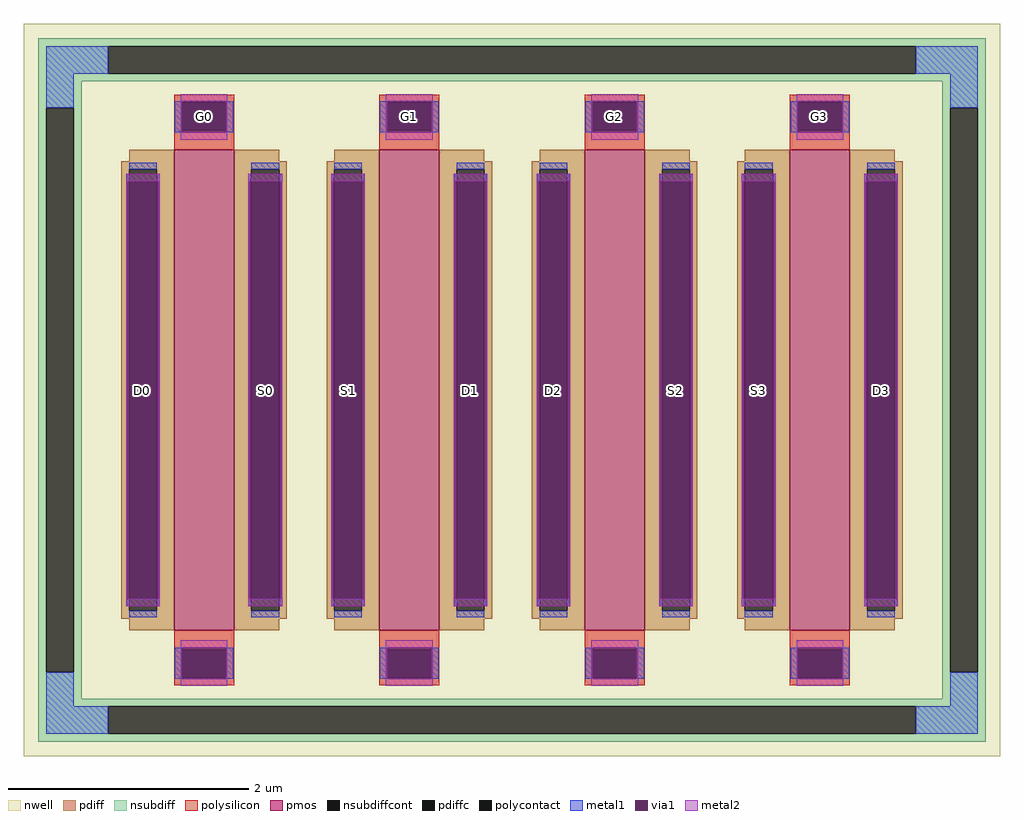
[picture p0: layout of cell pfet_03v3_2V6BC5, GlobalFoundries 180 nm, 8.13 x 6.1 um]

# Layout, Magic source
magic
tech gf180mcuD
magscale 1 10
<< nwell >>
rect -813 -610 813 610
<< pmos >>
rect -563 -400 -463 400
rect -221 -400 -121 400
rect 121 -400 221 400
rect 463 -400 563 400
<< pdiff >>
rect -638 381 -563 400
rect -651 368 -563 381
rect -651 -368 -638 368
rect -592 -368 -563 368
rect -651 -381 -563 -368
rect -638 -400 -563 -381
rect -463 381 -388 400
rect -296 381 -221 400
rect -463 368 -375 381
rect -463 -368 -434 368
rect -388 -368 -375 368
rect -463 -381 -375 -368
rect -309 368 -221 381
rect -309 -368 -296 368
rect -250 -368 -221 368
rect -309 -381 -221 -368
rect -463 -400 -388 -381
rect -296 -400 -221 -381
rect -121 381 -46 400
rect 46 381 121 400
rect -121 368 -33 381
rect -121 -368 -92 368
rect -46 -368 -33 368
rect -121 -381 -33 -368
rect 33 368 121 381
rect 33 -368 46 368
rect 92 -368 121 368
rect 33 -381 121 -368
rect -121 -400 -46 -381
rect 46 -400 121 -381
rect 221 381 296 400
rect 388 381 463 400
rect 221 368 309 381
rect 221 -368 250 368
rect 296 -368 309 368
rect 221 -381 309 -368
rect 375 368 463 381
rect 375 -368 388 368
rect 434 -368 463 368
rect 375 -381 463 -368
rect 221 -400 296 -381
rect 388 -400 463 -381
rect 563 381 638 400
rect 563 368 651 381
rect 563 -368 592 368
rect 638 -368 651 368
rect 563 -381 651 -368
rect 563 -400 638 -381
<< pdiffc >>
rect -638 -368 -592 368
rect -434 -368 -388 368
rect -296 -368 -250 368
rect -92 -368 -46 368
rect 46 -368 92 368
rect 250 -368 296 368
rect 388 -368 434 368
rect 592 -368 638 368
<< nsubdiff >>
rect -789 573 789 586
rect -789 527 -673 573
rect 673 527 789 573
rect -789 514 789 527
rect -789 470 -717 514
rect -789 -470 -776 470
rect -730 -470 -717 470
rect 717 470 789 514
rect -789 -514 -717 -470
rect 717 -470 730 470
rect 776 -470 789 470
rect 717 -514 789 -470
rect -789 -527 789 -514
rect -789 -573 -673 -527
rect 673 -573 789 -527
rect -789 -586 789 -573
<< nsubdiffcont >>
rect -673 527 673 573
rect -776 -470 -730 470
rect 730 -470 776 470
rect -673 -573 673 -527
<< polysilicon >>
rect -563 479 -463 492
rect -563 433 -550 479
rect -476 433 -463 479
rect -563 400 -463 433
rect -221 479 -121 492
rect -221 433 -208 479
rect -134 433 -121 479
rect -221 400 -121 433
rect 121 479 221 492
rect 121 433 134 479
rect 208 433 221 479
rect 121 400 221 433
rect 463 479 563 492
rect 463 433 476 479
rect 550 433 563 479
rect 463 400 563 433
rect -563 -433 -463 -400
rect -563 -479 -550 -433
rect -476 -479 -463 -433
rect -563 -492 -463 -479
rect -221 -433 -121 -400
rect -221 -479 -208 -433
rect -134 -479 -121 -433
rect -221 -492 -121 -479
rect 121 -433 221 -400
rect 121 -479 134 -433
rect 208 -479 221 -433
rect 121 -492 221 -479
rect 463 -433 563 -400
rect 463 -479 476 -433
rect 550 -479 563 -433
rect 463 -492 563 -479
<< polycontact >>
rect -550 433 -476 479
rect -208 433 -134 479
rect 134 433 208 479
rect 476 433 550 479
rect -550 -479 -476 -433
rect -208 -479 -134 -433
rect 134 -479 208 -433
rect 476 -479 550 -433
<< metal1 >>
rect -776 527 -673 573
rect 673 527 776 573
rect -776 470 -730 527
rect -562 429 -550 481
rect -476 429 -464 481
rect -220 429 -208 481
rect -134 429 -122 481
rect 122 429 134 481
rect 208 429 220 481
rect 464 429 476 481
rect 550 429 562 481
rect 730 470 776 527
rect -638 368 -592 379
rect -641 348 -638 360
rect -434 368 -388 379
rect -592 348 -589 360
rect -641 -360 -638 -348
rect -592 -360 -589 -348
rect -437 348 -434 360
rect -296 368 -250 379
rect -388 348 -385 360
rect -437 -360 -434 -348
rect -638 -379 -592 -368
rect -388 -360 -385 -348
rect -299 348 -296 360
rect -92 368 -46 379
rect -250 348 -247 360
rect -299 -360 -296 -348
rect -434 -379 -388 -368
rect -250 -360 -247 -348
rect -95 348 -92 360
rect 46 368 92 379
rect -46 348 -43 360
rect -95 -360 -92 -348
rect -296 -379 -250 -368
rect -46 -360 -43 -348
rect 43 348 46 360
rect 250 368 296 379
rect 92 348 95 360
rect 43 -360 46 -348
rect -92 -379 -46 -368
rect 92 -360 95 -348
rect 247 348 250 360
rect 388 368 434 379
rect 296 348 299 360
rect 247 -360 250 -348
rect 46 -379 92 -368
rect 296 -360 299 -348
rect 385 348 388 360
rect 592 368 638 379
rect 434 348 437 360
rect 385 -360 388 -348
rect 250 -379 296 -368
rect 434 -360 437 -348
rect 589 348 592 360
rect 638 348 641 360
rect 589 -360 592 -348
rect 388 -379 434 -368
rect 638 -360 641 -348
rect 592 -379 638 -368
rect -776 -527 -730 -470
rect -562 -481 -550 -429
rect -476 -481 -464 -429
rect -220 -481 -208 -429
rect -134 -481 -122 -429
rect 122 -481 134 -429
rect 208 -481 220 -429
rect 464 -481 476 -429
rect 550 -481 562 -429
rect 730 -527 776 -470
rect -776 -573 -673 -527
rect 673 -573 776 -527
<< via1 >>
rect -550 479 -476 481
rect -550 433 -476 479
rect -550 429 -476 433
rect -208 479 -134 481
rect -208 433 -134 479
rect -208 429 -134 433
rect 134 479 208 481
rect 134 433 208 479
rect 134 429 208 433
rect 476 479 550 481
rect 476 433 550 479
rect 476 429 550 433
rect -641 -348 -638 348
rect -638 -348 -592 348
rect -592 -348 -589 348
rect -437 -348 -434 348
rect -434 -348 -388 348
rect -388 -348 -385 348
rect -299 -348 -296 348
rect -296 -348 -250 348
rect -250 -348 -247 348
rect -95 -348 -92 348
rect -92 -348 -46 348
rect -46 -348 -43 348
rect 43 -348 46 348
rect 46 -348 92 348
rect 92 -348 95 348
rect 247 -348 250 348
rect 250 -348 296 348
rect 296 -348 299 348
rect 385 -348 388 348
rect 388 -348 434 348
rect 434 -348 437 348
rect 589 -348 592 348
rect 592 -348 638 348
rect 638 -348 641 348
rect -550 -433 -476 -429
rect -550 -479 -476 -433
rect -550 -481 -476 -479
rect -208 -433 -134 -429
rect -208 -479 -134 -433
rect -208 -481 -134 -479
rect 134 -433 208 -429
rect 134 -479 208 -433
rect 134 -481 208 -479
rect 476 -433 550 -429
rect 476 -479 550 -433
rect 476 -481 550 -479
<< metal2 >>
rect -552 481 -474 493
rect -552 429 -550 481
rect -476 429 -474 481
rect -552 417 -474 429
rect -210 481 -132 493
rect -210 429 -208 481
rect -134 429 -132 481
rect -210 417 -132 429
rect 132 481 210 493
rect 132 429 134 481
rect 208 429 210 481
rect 132 417 210 429
rect 474 481 552 493
rect 474 429 476 481
rect 550 429 552 481
rect 474 417 552 429
rect -643 348 -587 360
rect -643 -348 -641 348
rect -589 -348 -587 348
rect -643 -360 -587 -348
rect -439 348 -383 360
rect -439 -348 -437 348
rect -385 -348 -383 348
rect -439 -360 -383 -348
rect -301 348 -245 360
rect -301 -348 -299 348
rect -247 -348 -245 348
rect -301 -360 -245 -348
rect -97 348 -41 360
rect -97 -348 -95 348
rect -43 -348 -41 348
rect -97 -360 -41 -348
rect 41 348 97 360
rect 41 -348 43 348
rect 95 -348 97 348
rect 41 -360 97 -348
rect 245 348 301 360
rect 245 -348 247 348
rect 299 -348 301 348
rect 245 -360 301 -348
rect 383 348 439 360
rect 383 -348 385 348
rect 437 -348 439 348
rect 383 -360 439 -348
rect 587 348 643 360
rect 587 -348 589 348
rect 641 -348 643 348
rect 587 -360 643 -348
rect -552 -429 -474 -417
rect -552 -481 -550 -429
rect -476 -481 -474 -429
rect -552 -493 -474 -481
rect -210 -429 -132 -417
rect -210 -481 -208 -429
rect -134 -481 -132 -429
rect -210 -493 -132 -481
rect 132 -429 210 -417
rect 132 -481 134 -429
rect 208 -481 210 -429
rect 132 -493 210 -481
rect 474 -429 552 -417
rect 474 -481 476 -429
rect 550 -481 552 -429
rect 474 -493 552 -481
<< labels >>
rlabel pdiffc -615 0 -615 0 0 D0
port 1 nsew
rlabel pdiffc -411 0 -411 0 0 S0
port 2 nsew
rlabel polycontact -513 456 -513 456 0 G0
port 3 nsew
rlabel pdiffc -69 0 -69 0 0 D1
port 4 nsew
rlabel pdiffc -273 0 -273 0 0 S1
port 5 nsew
rlabel polycontact -171 456 -171 456 0 G1
port 6 nsew
rlabel pdiffc 69 0 69 0 0 D2
port 7 nsew
rlabel pdiffc 273 0 273 0 0 S2
port 8 nsew
rlabel polycontact 171 456 171 456 0 G2
port 9 nsew
rlabel pdiffc 615 0 615 0 0 D3
port 10 nsew
rlabel pdiffc 411 0 411 0 0 S3
port 11 nsew
rlabel polycontact 513 456 513 456 0 G3
port 12 nsew
<< properties >>
string FIXED_BBOX -753 -550 753 550
string gencell pfet_03v3
string library gf180mcu
string parameters w 4.0 l 0.5 m 1 nf 4 diffcov 95 polycov 100 guard 1 glc 1 grc 1 gtc 1 gbc 1 tbcov 100 rlcov 100 topc 1 botc 1 poverlap 0 doverlap 0 lmin 0.28 wmin 0.22 class mosfet full_metal 1 viasrc 90 viadrn 90 viagate 100 viagb 0 viagr 0 viagl 0 viagt 0 doports 1 compatible {pfet_03v3 pfet_05v0 pfet_06v0}
<< end >>
